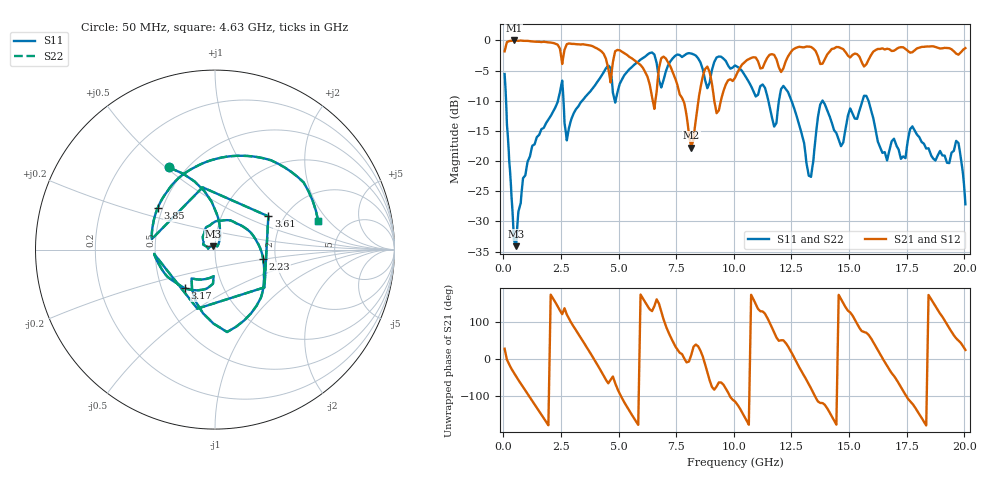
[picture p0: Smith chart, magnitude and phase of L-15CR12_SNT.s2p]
#	mhz	s	ma	r	50
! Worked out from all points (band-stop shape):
!   1001 points, 50 MHz to 20.05 GHz, reference 50 ohm
!   highest |S21| = -0.01 dB at 450 MHz (marker M1); lowest = -17.8 dB at 8.15 GHz (marker M2)
!   |S21| within 3 dB of the highest: start of sweep to 2.518 GHz; 15.87 GHz to end of sweep (the widest 2 of 9)
!   lowest |S11| = -34.1 dB at 550 MHz (marker M3), VSWR 1.04, Z = 49.1 + j1.73 ohm
!   |S11| at or under -10 dB: 114.5 MHz to 2.364 GHz (2.249 GHz wide, 182 % of centre); 13.86 GHz to 15.58 GHz (1.724 GHz wide, 11.7 % of centre); 15.84 GHz to end of sweep (the widest 3 of 7)
!   |S22| runs from -34.1 to -2.0 dB; largest |S21 - S12| = 0
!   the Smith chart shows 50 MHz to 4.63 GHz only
!   S11 on the Smith chart (normalised r, x): 50 MHz: 0.40, +0.51; 2.23 GHz: 1.72, -0.19; 3.17 GHz: 0.66, -0.30; 3.61 GHz: 1.66, +0.70; 3.85 GHz: 0.47, +0.26; 4.63 GHz: 3.11, +1.56
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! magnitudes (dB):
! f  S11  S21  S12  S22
! 50 MHz  -5.6  -1.8  -1.8  -5.6
! 450 MHz  -33.0  0.0  0.0  -33.0
! 550 MHz  -34.1  -0.1  -0.1  -34.1
! 2.23 GHz  -11.3  -0.5  -0.5  -11.3
! 3.17 GHz  -11.3  -0.6  -0.6  -11.3
! 3.39 GHz  -10.1  -0.7  -0.7  -10.1
! 3.61 GHz  -9.1  -0.8  -0.8  -9.1
! 3.85 GHz  -8.1  -0.9  -0.9  -8.1
! 4.63 GHz  -4.5  -6.5  -6.5  -4.5
! 6.73 GHz  -5.9  -5.3  -5.3  -5.9
! 8.15 GHz  -2.2  -17.8  -17.8  -2.2
! 8.77 GHz  -6.8  -4.7  -4.7  -6.8
! 10.05 GHz  -4.2  -6.2  -6.2  -4.2
! 11.75 GHz  -14.3  -2.4  -2.4  -14.3
! 12.25 GHz  -8.1  -3.5  -3.5  -8.1
! 13.39 GHz  -21.5  -1.2  -1.2  -21.5
! 13.85 GHz  -10.0  -3.9  -3.9  -10.0
! 14.67 GHz  -17.4  -1.3  -1.3  -17.4
! 15.73 GHz  -9.2  -4.0  -4.0  -9.2
! 16.73 GHz  -18.6  -1.4  -1.4  -18.6
! 19.69 GHz  -16.8  -2.3  -2.3  -16.8
! 20.05 GHz  -27.2  -1.3  -1.3  -27.2
